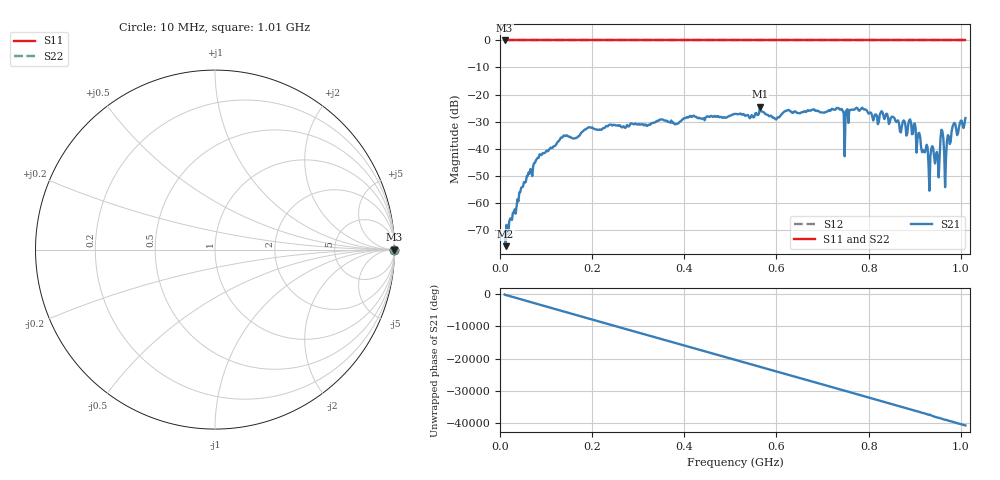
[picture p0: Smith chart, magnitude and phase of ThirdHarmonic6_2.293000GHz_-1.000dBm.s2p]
! 8/17/2025 3:03:39 AM
! C:\ANRITSUVNA\TEMP\TEMP.S2P
! CHANNEL.1
! TR.MEASUREMENT
! RAW.DATA
! RF.CORRECTION.OFF
! AVERAGING.OFF
! IF.BANDWIDTH: 5KHZ
! SWEEPTYPE:  FREQ.SWEEP(Linear)
! Reference Plane Port Info
! PORT:  PORT1  PORT2
! DISTANCE:  0  m  0  m
! TIME:  0  s  0  s
! PHASE.OFFSET:  0  deg.  0  deg.
! LOSS:  0  dB  0  dB
! REF.LOSS:  0  dB  0  dB
! REF.FREQ:  0  Hz  0  Hz
! Power Info
! POWER:  -20  dBm  -20  dBm
! EFF.POWER:  -20  dBm  -20  dBm
! SOURCE.ATTEN:  0  dB  0  dB
! TEST.ATTEN:  0  dB  0  dB
# GHZ S RI R 50.0
! FREQ.GHZ  S11RE  S11IM  S21RE  S21IM  S12RE  S12IM  S22RE  S22IM
!; PortSelection: Port_12
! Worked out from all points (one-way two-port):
!   501 points, 10 MHz to 1.01 GHz, reference 50 ohm
!   highest |S21| = -24.55 dB at 564 MHz (marker M1); lowest = -76.1 dB at 12 MHz (marker M2)
!   lowest |S11| = 0.0 dB at 10 MHz (marker M3)
!   |S11| at or under -10 dB: nowhere
!   |S22| runs from 0.0 to 0.0 dB; largest |S21 - S12| = 1.1
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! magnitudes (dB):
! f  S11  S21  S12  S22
! 10 MHz  0.0  -70.9  0.0  0.0
! 12 MHz  0.0  -76.1  0.0  0.0
! 46 MHz  0.0  -54.5  0.0  0.0
! 82 MHz  0.0  -43.4  0.0  0.0
! 178 MHz  0.0  -33.9  0.0  0.0
! 344 MHz  0.0  -29.7  0.0  0.0
! 510 MHz  0.0  -27.2  0.0  0.0
! 564 MHz  0.0  -24.5  0.0  0.0
! 678 MHz  0.0  -25.6  0.0  0.0
! 738 MHz  0.0  -25.6  0.0  0.0
! 752 MHz  0.0  -25.9  0.0  0.0
! 754 MHz  0.0  -25.4  0.0  0.0
! 772 MHz  0.0  -25.1  0.0  0.0
! 844 MHz  0.0  -30.9  0.0  0.0
! 890 MHz  0.0  -29.2  0.0  0.0
! 932 MHz  0.0  -55.6  0.0  0.0
! 938 MHz  0.0  -39.1  0.0  0.0
! 950 MHz  0.0  -43.2  0.0  0.0
! 960 MHz  0.0  -33.5  0.0  0.0
! 968 MHz  0.0  -43.0  0.0  0.0
! 984 MHz  0.0  -31.1  0.0  0.0
! 1.01 GHz  0.0  -28.7  0.0  0.0
